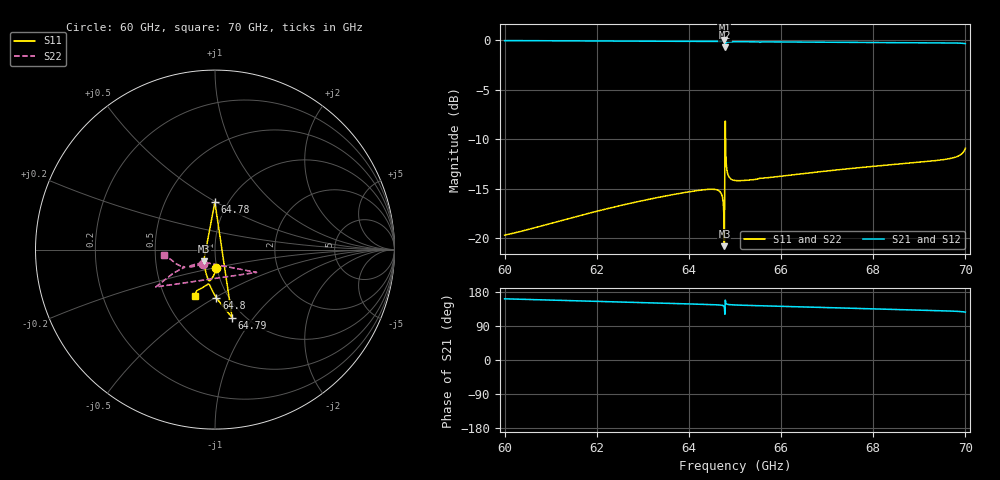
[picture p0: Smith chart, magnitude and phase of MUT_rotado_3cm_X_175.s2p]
! TOUCHSTONE file generated by CST MICROWAVE STUDIO
! Date and time: Sat Feb 17 14:30:09 2024
! Project name: MUT_rotado.cst
! Parameters = {AngX=1.75}
! Header version: 2018
! Port assignment regex: !\s*Touchstone port\s*([0-9]+)\s*=\s*(CST MWS port|CST DS port)\s*([0-9]+|Zmin|Zmax)\s*\(\"(.*)\"\)(\s*mode\s*([0-9]+))?.*
! Touchstone port assignment:
! Touchstone port 1 = CST MWS port 1 ("")
! Touchstone port 2 = CST MWS port 2 ("")
# GHz S MA R 376.7
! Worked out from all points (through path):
!   1001 points, 60 GHz to 70 GHz, reference 376.7 ohm
!   highest |S21| = -0.04 dB at 64.77 GHz (marker M1); lowest = -0.7 dB at 64.79 GHz (marker M2)
!   lowest |S11| = -20.8 dB at 64.77 GHz (marker M3), VSWR 1.20, Z = 329 - j43.5 ohm
!   |S11| at or under -10 dB: start of sweep to 64.78 GHz; 64.8 GHz to end of sweep
!   |S22| runs from -20.8 to -8.2 dB; largest |S21 - S12| = 0.015
!   S11 on the Smith chart (normalised r, x): 60 GHz: 0.99, -0.21; 64.78 GHz: 0.87, +0.49; 64.79 GHz: 0.88, -0.79; 64.8 GHz: 0.88, -0.51; 70 GHz: 0.70, -0.40
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60  0.1036 -85.6  0.9944 161.5  0.9947 161.5  0.1037 -131.5
61.67  0.1307 -90.7  0.9914 155.9  0.9914 155.9  0.1307 -137.4
63.34  0.1608 -96.0  0.9867 150.2  0.9869 150.3  0.1605 -143.5
64.54  0.1765 -100.8  0.9845 145.9  0.9845 146.0  0.1761 -147.3
64.68  0.1711 -102.8  0.9854 145.0  0.9855 145.0  0.1707 -147.2
64.71  0.1662 -104.0  0.9862 144.6  0.9864 144.6  0.1659 -146.8
64.72  0.1634 -104.7  0.9866 144.3  0.9869 144.3  0.1632 -146.6
64.73  0.1596 -105.6  0.9872 144.0  0.9876 144.0  0.1594 -146.2
64.74  0.1539 -107.1  0.9881 143.6  0.9885 143.6  0.1538 -145.6
64.77  0.09114 -134.0  0.9958 139.0  0.9963 139.0  0.09082 -128.0
64.78  0.2644 90.2  0.9644 120.7  0.9644 120.7  0.2644 -28.7
64.79  0.3905 -75.9  0.9206 158.2  0.9206 158.2  0.3905 -147.7
64.8  0.2701 -88.3  0.9629 150.6  0.9634 150.6  0.2698 -150.5
64.83  0.2169 -95.6  0.9763 147.2  0.977 147.2  0.2164 -150.0
64.84  0.2118 -96.4  0.9774 146.9  0.9782 146.8  0.2113 -149.9
64.85  0.2084 -97.0  0.9782 146.6  0.979 146.6  0.2078 -149.8
64.88  0.2026 -98.1  0.9795 146.1  0.9804 146.1  0.2017 -149.6
65  0.1956 -99.9  0.9808 145.2  0.9809 145.2  0.1956 -149.7
66.67  0.2143 -106.0  0.9767 139.4  0.9768 139.4  0.2144 -155.2
68.34  0.2343 -110.8  0.9722 133.9  0.9723 133.9  0.2342 -161.4
69.65  0.252 -113.9  0.968 129.3  0.9676 129.3  0.252 -167.5
70  0.2846 -113.5  0.9589 126.2  0.9588 126.2  0.2846 -174.0
